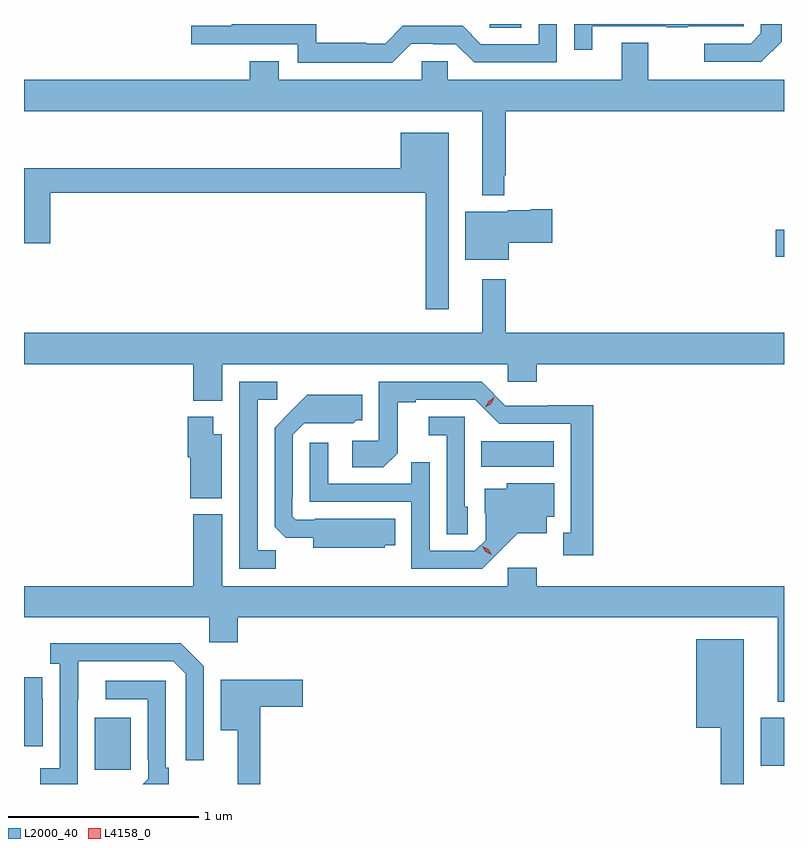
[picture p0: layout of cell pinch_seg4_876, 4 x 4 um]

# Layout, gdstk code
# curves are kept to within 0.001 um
import gdstk
lib = gdstk.Library(unit=1e-6, precision=1e-09)
def R(c, l, rs):  # rectangles x0, y0, x1, y1
    for r in rs: c.add(gdstk.rectangle(r[:2], r[2:], *l))
def P(c, l, *ps):  # polygons
    for p in ps: c.add(gdstk.Polygon(p, *l))
L2000_40 = (2000, 40)
L4158_0 = (4158, 0)

pinch_seg4_876 = lib.new_cell('pinch_seg4_876')
R(pinch_seg4_876, L2000_40, [(765.149,819.993,765.337,820.267), (768.653,820.013,768.776,820.267), (767.182,821.588,767.563,821.722), (768.732,822.694,768.776,822.836), (767.226,823.897,767.394,823.918)])
P(pinch_seg4_876, L2000_40, [(768.763,823.825),(768.763,823.918),(768.654,823.918),(768.654,823.869),(768.6,823.815),(768.357,823.815),(768.357,823.719),(768.657,823.719)],
  [(767.767,823.905),(768.157,823.905),(768.157,823.9),(768.269,823.9),(768.269,823.905),(768.564,823.905),(768.564,823.918),(767.671,823.918),(767.671,823.782),(767.767,823.782)],
  [(766.815,823.815),(766.931,823.815),(766.931,823.812),(767.049,823.812),(767.145,823.716),(767.58,823.716),(767.58,823.918),(767.484,823.918),(767.484,823.812),(767.181,823.812),(767.085,823.908),(766.77,823.908),(766.677,823.815),(766.577,823.815),(766.577,823.819),(766.314,823.819),(766.314,823.918),(765.87,823.918),(765.87,823.908),(765.657,823.908),(765.657,823.812),(766.218,823.812),(766.218,823.715),(766.715,823.715)],
  [(767.303,823.123),(767.311,823.123),(767.311,823.46),(768.776,823.46),(768.776,823.624),(768.061,823.624),(768.061,823.819),(767.921,823.819),(767.921,823.624),(767.007,823.624),(767.007,823.722),(766.869,823.722),(766.869,823.624),(766.117,823.624),(766.117,823.723),(765.965,823.723),(765.965,823.624),(764.776,823.624),(764.776,823.46),(767.189,823.46),(767.189,823.016),(767.303,823.016)],
  [(767.011,823.345),(766.76,823.345),(766.76,823.159),(764.776,823.159),(764.776,822.765),(764.915,822.765),(764.915,823.03),(766.89,823.03),(766.89,822.417),(767.011,822.417)],
  [(767.326,822.766),(767.557,822.766),(767.557,822.944),(767.444,822.944),(767.444,822.937),(767.322,822.937),(767.322,822.931),(767.099,822.931),(767.099,822.677),(767.326,822.677)],
  [(765.82,822.128),(767.322,822.128),(767.322,822.035),(767.474,822.035),(767.474,822.128),(768.776,822.128),(768.776,822.292),(767.311,822.292),(767.311,822.574),(767.189,822.574),(767.189,822.292),(764.776,822.292),(764.776,822.128),(765.668,822.128),(765.668,821.936),(765.82,821.936)],
  [(766.101,821.147),(766.005,821.147),(766.005,821.94),(766.108,821.94),(766.108,822.036),(765.909,822.036),(765.909,821.052),(766.101,821.052)],
  [(767.773,821.912),(767.532,821.912),(767.532,821.91),(767.31,821.91),(767.184,822.036),(766.644,822.036),(766.644,821.724),(766.503,821.724),(766.503,821.584),(766.667,821.584),(766.743,821.66),(766.743,821.928),(766.837,821.928),(766.837,821.94),(767.151,821.94),(767.277,821.814),(767.654,821.814),(767.654,821.241),(767.615,821.241),(767.615,821.121),(767.773,821.121)],
  [(766.674,821.174),(766.73,821.174),(766.73,821.314),(766.306,821.314),(766.306,821.31),(766.206,821.31),(766.188,821.328),(766.188,821.428),(766.191,821.428),(766.191,821.757),(766.251,821.817),(766.508,821.816),(766.524,821.832),(766.555,821.832),(766.555,821.968),(766.267,821.968),(766.095,821.794),(766.095,821.272),(766.154,821.213),(766.298,821.213),(766.298,821.162),(766.674,821.162)],
  [(765.817,821.758),(765.772,821.758),(765.772,821.851),(765.638,821.851),(765.638,821.637),(765.65,821.637),(765.65,821.423),(765.817,821.423)],
  [(767.112,821.376),(767.097,821.376),(767.097,821.85),(766.905,821.85),(766.905,821.753),(767.001,821.753),(767.001,821.233),(767.112,821.233)],
  [(767.272,821.135),(767.375,821.237),(767.527,821.237),(767.527,821.324),(767.566,821.324),(767.566,821.5),(767.316,821.5),(767.316,821.473),(767.201,821.473),(767.201,821.344),(767.205,821.344),(767.205,821.202),(767.148,821.145),(766.911,821.145),(766.911,821.612),(766.813,821.612),(766.813,821.499),(766.377,821.499),(766.377,821.713),(766.281,821.713),(766.281,821.403),(766.815,821.403),(766.815,821.052),(767.188,821.052)],
  [(768.776,820.96),(767.474,820.96),(767.474,821.056),(767.322,821.056),(767.322,820.96),(765.82,820.96),(765.82,821.338),(765.668,821.338),(765.668,820.96),(764.776,820.96),(764.776,820.796),(765.75,820.796),(765.75,820.665),(765.902,820.665),(765.902,820.796),(768.743,820.796),(768.743,820.352),(768.776,820.352)],
  [(768.565,820.681),(768.314,820.681),(768.314,820.214),(768.444,820.214),(768.444,819.918),(768.565,819.918)],
  [(765.06,820.363),(765.061,820.563),(765.561,820.563),(765.627,820.497),(765.627,820.044),(765.723,820.044),(765.723,820.539),(765.602,820.66),(764.913,820.66),(764.913,820.55),(764.964,820.55),(764.964,820.002),(764.862,820.002),(764.862,819.918),(765.06,819.918)],
  [(764.874,820.37),(764.873,820.37),(764.873,820.479),(764.776,820.479),(764.776,820.377),(764.778,820.377),(764.778,820.116),(764.874,820.116)],
  [(766.019,820.325),(766.243,820.325),(766.243,820.467),(765.812,820.467),(765.812,820.202),(765.902,820.202),(765.902,819.918),(766.019,819.918)],
  [(765.537,820.003),(765.522,820.003),(765.522,820.461),(765.207,820.461),(765.207,820.365),(765.426,820.365),(765.426,820.045),(765.429,820.045),(765.429,819.945),(765.402,819.918),(765.537,819.918)])
P(pinch_seg4_876, L4158_0, [(767.204,821.9),(767.204,821.901),(767.221,821.933),(767.252,821.953),(767.252,821.953),(767.252,821.952),(767.236,821.92),(767.204,821.9)],
  [(767.237,821.125),(767.206,821.14),(767.189,821.169),(767.189,821.169),(767.189,821.169),(767.22,821.154),(767.237,821.125),(767.237,821.125)])

lib.write_gds('pinch_seg4_876.gds')
